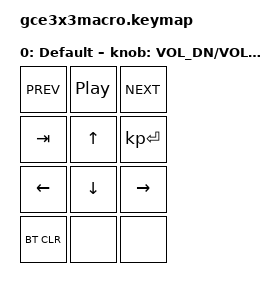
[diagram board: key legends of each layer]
/*
 * gce3x3macro.keymap
 *
 * Seeed XIAO nRF52840
 * 3x3 Macro Pad
 */

#include <behaviors.dtsi>
#include <dt-bindings/zmk/keys.h>

/ {
    keymap {
        compatible = "zmk,keymap";

        default_layer {
            display-name = "Default";

            bindings = <
                &kp C_PREV   &kp C_PLAY_PAUSE   &kp C_NEXT
                &kp TAB   &kp UP   &kp KP_ENTER
                &kp LEFT   &kp DOWN   &kp RIGHT
                &bt BT_CLR &none  &none
            >;

            sensor-bindings = <
                &inc_dec_kp C_VOL_DN C_VOL_UP
            >;
        };
    };
};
